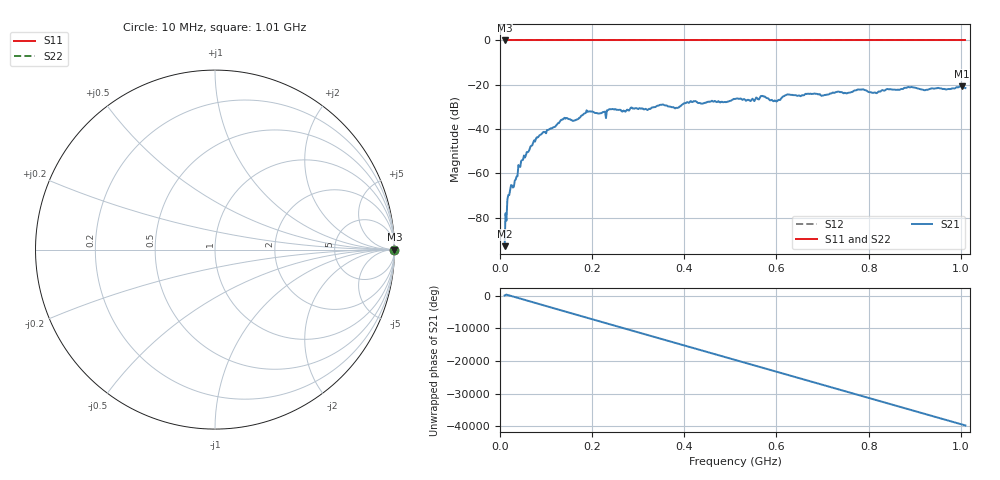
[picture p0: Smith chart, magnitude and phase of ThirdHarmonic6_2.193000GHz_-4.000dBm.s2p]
! 8/17/2025 2:08:32 AM
! C:\ANRITSUVNA\TEMP\TEMP.S2P
! CHANNEL.1
! TR.MEASUREMENT
! RAW.DATA
! RF.CORRECTION.OFF
! AVERAGING.OFF
! IF.BANDWIDTH: 5KHZ
! SWEEPTYPE:  FREQ.SWEEP(Linear)
! Reference Plane Port Info
! PORT:  PORT1  PORT2
! DISTANCE:  0  m  0  m
! TIME:  0  s  0  s
! PHASE.OFFSET:  0  deg.  0  deg.
! LOSS:  0  dB  0  dB
! REF.LOSS:  0  dB  0  dB
! REF.FREQ:  0  Hz  0  Hz
! Power Info
! POWER:  -20  dBm  -20  dBm
! EFF.POWER:  -20  dBm  -20  dBm
! SOURCE.ATTEN:  0  dB  0  dB
! TEST.ATTEN:  0  dB  0  dB
# GHZ S RI R 50.0
! FREQ.GHZ  S11RE  S11IM  S21RE  S21IM  S12RE  S12IM  S22RE  S22IM
!; PortSelection: Port_12
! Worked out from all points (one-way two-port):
!   501 points, 10 MHz to 1.01 GHz, reference 50 ohm
!   highest |S21| = -20.66 dB at 1.002 GHz (marker M1); lowest = -92.9 dB at 10 MHz (marker M2)
!   lowest |S11| = 0.0 dB at 10 MHz (marker M3)
!   |S11| at or under -10 dB: nowhere
!   |S22| runs from 0.0 to 0.0 dB; largest |S21 - S12| = 1.1
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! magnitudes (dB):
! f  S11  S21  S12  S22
! 10 MHz  0.0  -92.9  0.0  0.0
! 20 MHz  0.0  -69.8  0.0  0.0
! 34 MHz  0.0  -62.8  0.0  0.0
! 44 MHz  0.0  -57.1  0.0  0.0
! 76 MHz  0.0  -45.7  0.0  0.0
! 136 MHz  0.0  -35.7  0.0  0.0
! 162 MHz  0.0  -36.1  0.0  0.0
! 178 MHz  0.0  -33.8  0.0  0.0
! 192 MHz  0.0  -32.1  0.0  0.0
! 226 MHz  0.0  -32.3  0.0  0.0
! 240 MHz  0.0  -31.1  0.0  0.0
! 344 MHz  0.0  -29.4  0.0  0.0
! 384 MHz  0.0  -30.4  0.0  0.0
! 416 MHz  0.0  -27.8  0.0  0.0
! 510 MHz  0.0  -26.4  0.0  0.0
! 570 MHz  0.0  -25.1  0.0  0.0
! 598 MHz  0.0  -27.3  0.0  0.0
! 624 MHz  0.0  -24.3  0.0  0.0
! 678 MHz  0.0  -24.1  0.0  0.0
! 844 MHz  0.0  -22.1  0.0  0.0
! 1.002 GHz  0.0  -20.7  0.0  0.0
! 1.01 GHz  0.0  -21.5  0.0  0.0
